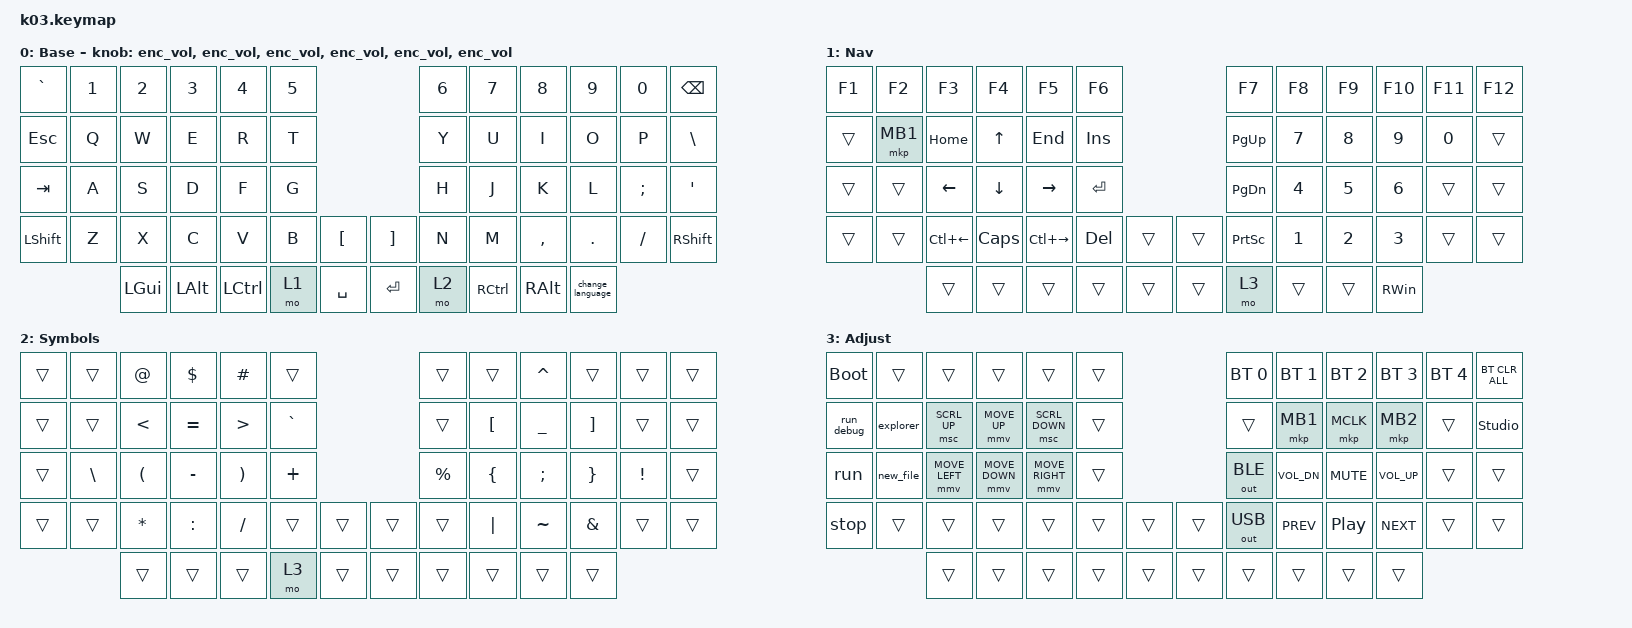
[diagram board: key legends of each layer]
#define ZMK_POINTING_DEFAULT_MOVE_VAL 1500  // default: 600
#define ZMK_POINTING_DEFAULT_SCRL_VAL 20    // default: 10

#include "keys_ru.h"
#include <behaviors.dtsi>
#include <dt-bindings/zmk/bt.h>
#include <dt-bindings/zmk/keys.h>
#include <dt-bindings/zmk/outputs.h>
#include <dt-bindings/zmk/pointing.h>

/ {
    behaviors {
        enc_vol: enc_vol {
            compatible = "zmk,behavior-sensor-rotate";
            label = "ENC_VOL";
            #sensor-binding-cells = <0>;
            bindings = <&kp C_VOL_UP>, <&kp C_VOL_DN>;
        };
    };

    macros {
        explorer: explorer {
            compatible = "zmk,behavior-macro";
            #binding-cells = <0>;
            bindings = <&kp LA(LC(L))>;
            label = "EXPLORER";
            tap-ms = <100>;
        };

        new_file: new_file {
            compatible = "zmk,behavior-macro";
            #binding-cells = <0>;
            bindings = <&kp LC(LS(A))>;
            label = "NEW_FILE";
            tap-ms = <100>;
        };

        change_language: change_language {
            compatible = "zmk,behavior-macro";
            #binding-cells = <0>;
            bindings = <&kp LC(LEFT_SHIFT)>;
            label = "CHANGE_LANGUAGE";
            tap-ms = <100>;
        };

        run_debug: start_debug {
            compatible = "zmk,behavior-macro";
            #binding-cells = <0>;
            bindings = <&kp LA(F5)>;
            label = "START_DEBUG";
            tap-ms = <100>;
        };

        run: run {
            compatible = "zmk,behavior-macro";
            #binding-cells = <0>;
            bindings = <&kp LC(F5)>;
            label = "RUN";
            tap-ms = <100>;
        };

        stop: stop {
            compatible = "zmk,behavior-macro";
            #binding-cells = <0>;
            bindings = <&kp LS(F5)>;
            label = "STOP";
        };
    };

    combos {
        compatible = "zmk,combos";

        caps-word {
            bindings = <&caps_word>;
            key-positions = <36 49>;
            layers = <0>;
        };
    };

    keymap {
        compatible = "zmk,keymap";

        base {
            bindings = <
&kp GRAVE  &kp N1  &kp N2    &kp N3    &kp N4     &kp N5                          &kp N6  &kp N7     &kp N8         &kp N9            &kp N0    &kp BSPC
&kp ESC    &kp Q   &kp W     &kp E     &kp R      &kp T                           &kp Y   &kp U      &kp I          &kp O             &kp P     &kp BSLH
&kp TAB    &kp A   &kp S     &kp D     &kp F      &kp G                           &kp H   &kp J      &kp K          &kp L             &kp SEMI  &kp SQT
&kp LSHFT  &kp Z   &kp X     &kp C     &kp V      &kp B   &kp LBKT     &kp RBKT   &kp N   &kp M      &kp COMMA      &kp DOT           &kp FSLH  &kp RSHFT
                   &kp LGUI  &kp LALT  &kp LCTRL  &mo 1   &kp SPACE    &kp ENTER  &mo 2   &kp RCTRL  &kp RIGHT_ALT  &change_language
            >;

            display-name = "Base";
            sensor-bindings =
                <&enc_vol>,
                <&enc_vol>,
                <&enc_vol>,
                <&enc_vol>,
                <&enc_vol>,
                <&enc_vol>;
        };

        nav {
            bindings = <
&kp F1  &kp F2    &kp F3        &kp F4    &kp F5         &kp F6                     &kp F7           &kp F8  &kp F9  &kp F10   &kp F11  &kp F12
&trans  &mkp MB1  &kp HOME      &kp UP    &kp END        &kp INS                    &kp PG_UP        &kp N7  &kp N8  &kp N9    &kp N0   &trans
&trans  &trans    &kp LEFT      &kp DOWN  &kp RIGHT      &kp RET                    &kp PG_DN        &kp N4  &kp N5  &kp N6    &trans   &trans
&trans  &trans    &kp LC(LEFT)  &kp CAPS  &kp LC(RIGHT)  &kp DEL  &trans    &trans  &kp PRINTSCREEN  &kp N1  &kp N2  &kp N3    &trans   &trans
                  &trans        &trans    &trans         &trans   &trans    &trans  &mo 3            &trans  &trans  &kp RWIN
            >;

            display-name = "Nav";
        };

        sym {
            bindings = <
&trans  &trans    &kp AT    &kp DLLR   &kp HASH  &trans                       &trans     &trans    &kp CARET  &trans    &trans    &trans
&trans  &trans    &kp LT    &kp EQUAL  &kp GT    &kp GRAVE                    &trans     &kp LBKT  &kp UNDER  &kp RBKT  &trans    &trans
&trans  &kp BSLH  &kp LPAR  &kp MINUS  &kp RPAR  &kp PLUS                     &kp PRCNT  &kp LBRC  &kp SEMI   &kp RBRC  &kp EXCL  &trans
&trans  &trans    &kp STAR  &kp COLON  &kp FSLH  &trans     &trans    &trans  &trans     &kp PIPE  &kp TILDE  &kp AMPS  &trans    &trans
                  &trans    &trans     &trans    &mo 3      &trans    &trans  &trans     &trans    &trans     &trans
            >;

            display-name = "Symbols";
        };

        adj {
            bindings = <
&bootloader  &trans     &trans          &trans          &trans           &trans                    &bt BT_SEL 0  &bt BT_SEL 1  &bt BT_SEL 2      &bt BT_SEL 3  &bt BT_SEL 4  &bt BT_CLR_ALL
&run_debug   &explorer  &msc SCRL_UP    &mmv MOVE_UP    &msc SCRL_DOWN   &trans                    &trans        &mkp MB1      &mkp MCLK         &mkp MB2      &trans        &studio_unlock
&run         &new_file  &mmv MOVE_LEFT  &mmv MOVE_DOWN  &mmv MOVE_RIGHT  &trans                    &out OUT_BLE  &kp C_VOL_DN  &kp C_MUTE        &kp C_VOL_UP  &trans        &trans
&stop        &trans     &trans          &trans          &trans           &trans  &trans    &trans  &out OUT_USB  &kp C_PREV    &kp C_PLAY_PAUSE  &kp C_NEXT    &trans        &trans
                        &trans          &trans          &trans           &trans  &trans    &trans  &trans        &trans        &trans            &trans
            >;

            display-name = "Adjust";
        };
    };
};
